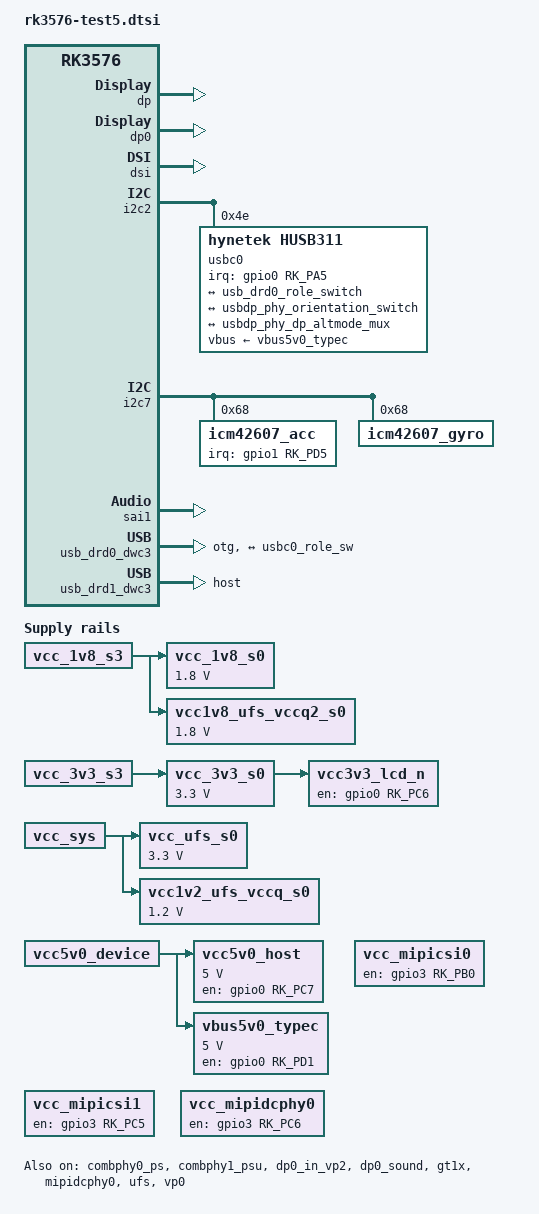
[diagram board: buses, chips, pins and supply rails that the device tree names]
// SPDX-License-Identifier: (GPL-2.0+ OR MIT)
/*
 * Copyright (c) 2024 Rockchip Electronics Co., Ltd.
 *
 */

#include <dt-bindings/usb/pd.h>
#include "rk3576-evb.dtsi"
#include "rk3576-rk806.dtsi"

/ {
	vcc_1v8_s0: vcc-1v8-s0 {
		compatible = "regulator-fixed";
		regulator-name = "vcc_1v8_s0";
		regulator-boot-on;
		regulator-always-on;
		regulator-min-microvolt = <1800000>;
		regulator-max-microvolt = <1800000>;
		vin-supply = <&vcc_1v8_s3>;
	};

	vcc_3v3_s0: vcc-3v3-s0 {
		compatible = "regulator-fixed";
		regulator-name = "vcc_3v3_s0";
		regulator-boot-on;
		regulator-always-on;
		regulator-min-microvolt = <3300000>;
		regulator-max-microvolt = <3300000>;
		vin-supply = <&vcc_3v3_s3>;
	};

	vcc_ufs_s0: vcc-ufs-s0 {
		compatible = "regulator-fixed";
		regulator-name = "vcc_ufs_s0";
		regulator-boot-on;
		regulator-always-on;
		regulator-min-microvolt = <3300000>;
		regulator-max-microvolt = <3300000>;
		vin-supply = <&vcc_sys>;
	};

	vcc1v8_ufs_vccq2_s0: vcc1v8-ufs-vccq2-s0 {
		compatible = "regulator-fixed";
		regulator-name = "vcc1v8_ufs_vccq2_s0";
		regulator-boot-on;
		regulator-always-on;
		regulator-min-microvolt = <1800000>;
		regulator-max-microvolt = <1800000>;
		vin-supply = <&vcc_1v8_s3>;
	};

	vcc1v2_ufs_vccq_s0: vcc1v2-ufs-vccq-s0 {
		compatible = "regulator-fixed";
		regulator-name = "vcc1v2_ufs_vccq_s0";
		regulator-boot-on;
		regulator-always-on;
		regulator-min-microvolt = <1200000>;
		regulator-max-microvolt = <1200000>;
		vin-supply = <&vcc_sys>;
	};

	vcc3v3_lcd_n: vcc3v3-lcd0-n {
		compatible = "regulator-fixed";
		regulator-name = "vcc3v3_lcd0_n";
		regulator-boot-on;
		enable-active-high;
		gpio = <&gpio0 RK_PC6 GPIO_ACTIVE_HIGH>;
		vin-supply = <&vcc_3v3_s0>;
	};

	vcc5v0_host: vcc5v0-host {
		compatible = "regulator-fixed";
		regulator-name = "vcc5v0_host";
		regulator-boot-on;
		regulator-always-on;
		regulator-min-microvolt = <5000000>;
		regulator-max-microvolt = <5000000>;
		enable-active-high;
		gpio = <&gpio0 RK_PC7 GPIO_ACTIVE_HIGH>;
		vin-supply = <&vcc5v0_device>;
		pinctrl-names = "default";
		pinctrl-0 = <&usb_host_pwren>;
	};

	vbus5v0_typec: vbus5v0-typec {
		compatible = "regulator-fixed";
		regulator-name = "vbus5v0_typec";
		regulator-min-microvolt = <5000000>;
		regulator-max-microvolt = <5000000>;
		enable-active-high;
		gpio = <&gpio0 RK_PD1 GPIO_ACTIVE_HIGH>;
		vin-supply = <&vcc5v0_device>;
		pinctrl-names = "default";
		pinctrl-0 = <&usb_otg0_pwren>;
	};

	vcc_mipicsi0: vcc-mipicsi0-regulator {
		compatible = "regulator-fixed";
		gpio = <&gpio3 RK_PB0 GPIO_ACTIVE_HIGH>;
		pinctrl-names = "default";
		pinctrl-0 = <&mipicsi0_pwr>;
		regulator-name = "vcc_mipicsi0";
		enable-active-high;
	};

	vcc_mipicsi1: vcc-mipicsi1-regulator {
		compatible = "regulator-fixed";
		gpio = <&gpio3 RK_PC5 GPIO_ACTIVE_HIGH>;
		pinctrl-names = "default";
		pinctrl-0 = <&mipicsi1_pwr>;
		regulator-name = "vcc_mipicsi1";
		enable-active-high;
	};

	vcc_mipidcphy0: vcc-mipidcphy0-regulator {
		compatible = "regulator-fixed";
		gpio = <&gpio3 RK_PC6 GPIO_ACTIVE_HIGH>;
		pinctrl-names = "default";
		pinctrl-0 = <&mipidcphy0_pwr>;
		regulator-name = "vcc_mipidcphy0";
		enable-active-high;
	};
};

&combphy0_ps {
	status = "okay";
};

&combphy1_psu {
	status = "okay";
};

&dp {
	status = "okay";
};

&dp0 {
	status = "okay";
};

&dp0_in_vp2 {
	status = "okay";
};

&dp0_sound {
	status = "okay";
};

/*
 * mipidcphy0 needs to be enabled
 * when dsi is enabled
 */
&dsi {
	status = "okay";
};

&dsi_panel {
	power-supply = <&vcc3v3_lcd_n>;
};

&gt1x {
	status = "okay";
	power-supply = <&vcc3v3_lcd_n>;
};

&i2c2 {
	status = "okay";

	usbc0: husb311@4e {
		compatible = "hynetek,husb311";
		reg = <0x4e>;
		interrupt-parent = <&gpio0>;
		interrupts = <RK_PA5 IRQ_TYPE_LEVEL_LOW>;
		pinctrl-names = "default";
		pinctrl-0 = <&usbc0_int>;
		vbus-supply = <&vbus5v0_typec>;
		status = "okay";

		port {
			usbc0_role_sw: endpoint {
				remote-endpoint = <&usb_drd0_role_switch>;
			};
		};

		usb_con: connector {
			compatible = "usb-c-connector";
			label = "USB-C";
			data-role = "dual";
			power-role = "dual";
			try-power-role = "sink";
			op-sink-microwatt = <1000000>;
			sink-pdos =
				<PDO_FIXED(5000, 1000, PDO_FIXED_USB_COMM)>;
			source-pdos =
				<PDO_FIXED(5000, 3000, PDO_FIXED_USB_COMM)>;

			altmodes {
				#address-cells = <1>;
				#size-cells = <0>;

				altmode@0 {
					reg = <0>;
					svid = <0xff01>;
					vdo = <0xffffffff>;
				};
			};

			ports {
				#address-cells = <1>;
				#size-cells = <0>;

				port@0 {
					reg = <0>;
					usbc0_orien_sw: endpoint {
						remote-endpoint = <&usbdp_phy_orientation_switch>;
					};
				};

				port@1 {
					reg = <1>;
					dp_altmode_mux: endpoint {
						remote-endpoint = <&usbdp_phy_dp_altmode_mux>;
					};
				};
			};
		};
	};
};

&i2c7 {
	status = "okay";
	pinctrl-names = "default";
	pinctrl-0 = <&i2c7m1_xfer>;


	icm42607_acc: icm_acc@68 {
		status = "okay";
		compatible = "icm42607_acc";
		reg = <0x68>;
		irq-gpio = <&gpio1 RK_PD5 IRQ_TYPE_EDGE_RISING>;
		irq_enable = <0>;
		poll_delay_ms = <30>;
		type = <SENSOR_TYPE_ACCEL>;
		layout = <4>;
	};

	icm42607_gyro: icm_gyro@68 {
		status = "okay";
		compatible = "icm42607_gyro";
		reg = <0x68>;
		poll_delay_ms = <30>;
		type = <SENSOR_TYPE_GYROSCOPE>;
		layout = <4>;
	};
};

&mipidcphy0 {
	status = "okay";
};

&pdm1 {
	status = "disabled";
	pinctrl-names = "default", "idle", "clk";
	pinctrl-0 = <&pdm1m1_sdi0
		     &pdm1m1_sdi1
		     &pdm1m1_sdi2
		     &pdm1m1_sdi3>;
	pinctrl-1 = <&pdm1m1_clk0_idle
		     &pdm1m1_clk1_idle>;
	pinctrl-2 = <&pdm1m1_clk0
		     &pdm1m1_clk1>;
};

&pinctrl {
	cam {
		mipicsi0_pwr: mipicsi0-pwr {
			rockchip,pins =
				/* camera power en */
				<3 RK_PB0 RK_FUNC_GPIO &pcfg_pull_none>;
		};

		mipicsi1_pwr: mipicsi1-pwr {
			rockchip,pins =
				/* camera power en */
				<3 RK_PC5 RK_FUNC_GPIO &pcfg_pull_none>;
		};

		mipidcphy0_pwr: mipidcphy0-pwr {
			rockchip,pins =
				/* camera power en */
				<3 RK_PC6 RK_FUNC_GPIO &pcfg_pull_none>;
		};
	};

	usb {
		usb_host_pwren: usb-host-pwren {
			rockchip,pins = <0 RK_PC7 RK_FUNC_GPIO &pcfg_pull_none>;
		};

		usb_otg0_pwren: usb-otg0-pwren {
			rockchip,pins = <0 RK_PD1 RK_FUNC_GPIO &pcfg_pull_none>;
		};

		usbc0_int: usbc0-int {
			rockchip,pins = <0 RK_PA5 RK_FUNC_GPIO &pcfg_pull_up>;
		};
	};
};

&sai1 {
	status = "okay";
	pinctrl-names = "default";
	pinctrl-0 = <&sai1m0_lrck
		     &sai1m0_sclk
		     &sai1m0_sdi0
		     &sai1m0_sdo0>;
};

&ufs {
	status = "okay";
};

&u2phy0_otg {
	rockchip,typec-vbus-det;
};

&u2phy1_otg {
	phy-supply = <&vcc5v0_host>;
};

&usbdp_phy {
	orientation-switch;
	svid = <0xff01>;
	sbu1-dc-gpios = <&gpio2 RK_PA6 GPIO_ACTIVE_HIGH>;
	sbu2-dc-gpios = <&gpio2 RK_PA7 GPIO_ACTIVE_HIGH>;

	port {
		#address-cells = <1>;
		#size-cells = <0>;

		usbdp_phy_orientation_switch: endpoint@0 {
			reg = <0>;
			remote-endpoint = <&usbc0_orien_sw>;
		};

		usbdp_phy_dp_altmode_mux: endpoint@1 {
			reg = <1>;
			remote-endpoint = <&dp_altmode_mux>;
		};
	};
};

&usb_drd0_dwc3 {
	dr_mode = "otg";
	usb-role-switch;
	port {
		usb_drd0_role_switch: endpoint {
			remote-endpoint = <&usbc0_role_sw>;
		};
	};
};

&usb_drd1_dwc3 {
	dr_mode = "host";
	status = "okay";
};

&vp0 {
	status = "okay";
};

&wireless_bluetooth {
	status = "disabled";
};

&wireless_wlan {
	status = "disabled";
};
